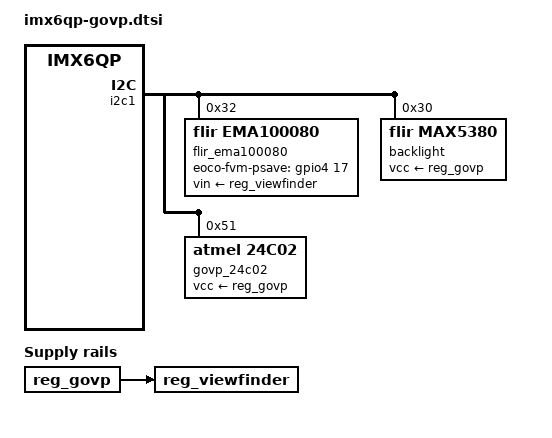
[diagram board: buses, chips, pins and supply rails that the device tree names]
/*
 * Copyright 2022 Teledyne FLIR
 *
 * The code contained herein is licensed under the GNU General Public
 * License. You may obtain a copy of the GNU General Public License
 * Version 2 or later at the following locations:
 *
 * http://www.opensource.org/licenses/gpl-license.html
 * http://www.gnu.org/copyleft/gpl.html
 */

#include <dt-bindings/input/input.h>

/ {
	regulators {
		compatible = "simple-bus";

		reg_viewfinder: reg_viewfinder {
			compatible = "regulator-fixed";
			regulator-name = "reg viewfinder";
			vin-supply = <&reg_govp>;
			vin2-supply = <&reg_eoco_3v3a_enable>;
		};
	};
};

&i2c1 {
	flir_ema100080: flir_ema100080@32 {
		compatible = "flir,ema100080";
		pinctrl-names = "default";
		pinctrl-0 = <&pinctrl_viewfinder>;

		eoco-fvm-psave-gpio = <&gpio4 17 GPIO_ACTIVE_HIGH>;
		//eoco-fvm-pwr-en-gpio = <&gpio4 20 GPIO_ACTIVE_HIGH>;
		vin-supply = <&reg_viewfinder>;

		reg = <0x32>;
		// These were taken from old ce driver. It is essentially SVGA_60, from page 45 in the eMagin 100080 datasheet
		// So this is the setup for the 800x600, this needs to match what is setup in mxc_lcdif (nxp code)
		i2c-config-cmds =	<0x01 0x80>, // Red Analog Input Gain
					<0x02 0x38>, // Red Analog Input DC Offset
					<0x03 0x80>, // Green Analog Input Gain
					<0x04 0x38>, // Green Analog Input DC Offset
					<0x05 0x80>, // Blue Analog Input Gain
					<0x06 0x38>, // Blue Analog Input DC Offset
					<0x07 0x80>, // Mono Analog Input Gain
					<0x08 0x38>, // Mono Analog Input DC Offset
					<0x09 0x00>, // Vertical Mode Settings (SVGA 600 rows, RGB)
					<0x0A 0x02>, // HMODE (SVGA 800 columns, internal PLL, no screen saver)
					<0x0D 0x00>, // HRATE_L (Horizontal Shift Frame Rate = 0x8000 (every 9 minute))
					<0x0E 0x80>, // HRATE_U
					<0x0F 0x1E>, // PLL_L (Feedback Divider=0x41E, Post-Scaler Divider=1)
					<0x10 0x0C>, // PLL_U
					<0x11 0x0C>, // PIF (Phase Interpolator Frequency = 40 MHz)
					<0x12 0x00>, // PI2 (Phase Adjustment)
					<0x13 0xD4>, // HSTART (Horizontal Active Start Count)
					<0x14 0x19>, // VSTART (Vertical Active Start Count)
					<0x15 0xD8>, // HBLK
					<0x16 0x0C>, // HDEL
					<0x17 0x02>, // PWDN (disable MONO analog input)
					<0x18 0x80>, // ATB (power control through PWDN register)
					<0x1A 0x08>; // TRIM (automatic and periodic calibration)
	};
	backlight: backlight_vf@30 {
		reg = <0x30>;
		compatible = "flir,max5380";
		default-brightness = <0x0>;
		max-brightness = <255>;
		vcc-supply = <&reg_govp>;
	};

	 govp_24c02: govp_24c02@51 {
		compatible = "atmel,24c02";
		reg = <0x51>;
		pagesize = <16>;
		vcc-supply = <&reg_govp>;
	};

};

&iomuxc {
};

